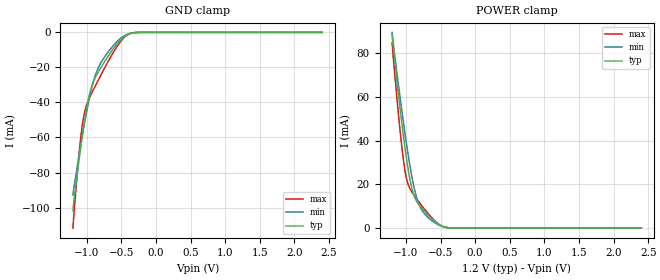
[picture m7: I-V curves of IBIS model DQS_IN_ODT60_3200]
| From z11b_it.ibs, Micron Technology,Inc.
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| MODEL DQS_IN_ODT60_3200 (Data Strobe Input with 60ohm ODT, 1600-3200Mbps)
[Model]   DQS_IN_ODT60_3200
Model_type   Input
Vinl = 905.000mV
Vinh = 1015.000mV
|   typ   min   max
|C_comp   0.756pF   0.702pF   0.824pF
C_comp_power_clamp   0.378pF   0.351pF   0.412pF
C_comp_gnd_clamp   0.378pF   0.351pF   0.412pF
| Note: C_comp changes when the ODT circuit is enabled.
|[Model Spec]
| Dynamic Overshoot Parameters from DDR4 Specification
|D_overshoot_ampl_h   0.40   NA   NA
|D_overshoot_ampl_l   0.40   NA   NA
|D_overshoot_area_h   0.0800n   NA   NA
|D_overshoot_area_l   0.0800n   NA   NA
[Voltage Range]   1.2000V   1.1400V   1.2600V
| Junction Temperature (Ambient temp is 35C typ, 95C min, -40C max)
[Temperature Range]   50.0   110.0   -40.0
[Add Submodel]
| Submodel Name   Mode
60ohm_ODT_3200   Non-Driving
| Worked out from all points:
|   GND clamp passes 1 mA (typ) near -0.39 V on its own axis
|   POWER clamp passes 1 mA (typ) near -0.48 V on its own axis
[GND Clamp]
|   Voltage   I(typ)   I(min)   I(max)
-1.2V     -101.7mA   -92.86mA   -111.8mA
-1.135V   -79.96mA   -75.85mA   -79.4mA
-1.102V   -69.91mA   -67.92mA   -65.62mA
-1.058V   -57.35mA   -57.73mA   -51.32mA
-1.015V   -46.2mA    -48.11mA   -42.97mA
-938.2mV  -32.13mA   -33.39mA   -35.52mA
-883.6mV  -26.44mA   -25.42mA   -31.18mA
-829.1mV  -22.35mA   -19.88mA   -26.94mA
-632.7mV  -10.25mA   -8.308mA   -12.55mA
-436.4mV  -1.919mA   -1.478mA   -2.076mA
-250.9mV  -38.97uA   -39.89uA   -11.48uA
2.4V      0A         0A         0A
[Power Clamp]
|   Voltage   I(typ)   I(min)   I(max)
-1.2V     88.83mA    89.6mA     84.8mA
-1.135V   68.72mA    72.21mA    60.94mA
-1.08V    53.49mA    58.78mA    43.22mA
-1.036V   42.21mA    48.5mA     31.23mA
-992.7mV  32.04mA    38.77mA    22.83mA
-916.4mV  18.53mA    23.93mA    16.66mA
-840mV    12.03mA    13.41mA    13.24mA
-763.6mV  8.812mA    7.919mA    9.989mA
-632.7mV  4.49mA     3.59mA     4.929mA
-490.9mV  1.198mA    934.4uA    1.128mA
-349.1mV  89.69uA    82.61uA    42.61uA
2.4V      0A         0A         0A
